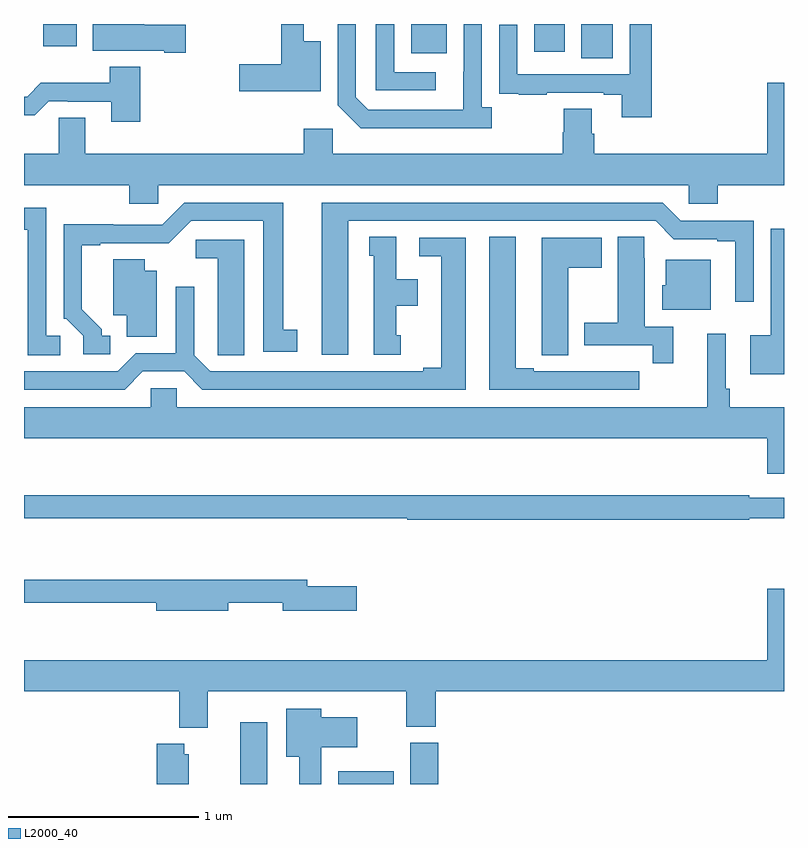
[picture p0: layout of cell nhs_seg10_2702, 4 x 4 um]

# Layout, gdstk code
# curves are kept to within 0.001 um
import gdstk
lib = gdstk.Library(unit=1e-6, precision=1e-09)
def R(c, l, rs):  # rectangles x0, y0, x1, y1
    for r in rs: c.add(gdstk.rectangle(r[:2], r[2:], *l))
def P(c, l, *ps):  # polygons
    for p in ps: c.add(gdstk.Polygon(p, *l))
L2000_40 = (2000, 40)

nhs_seg10_2702 = lib.new_cell('nhs_seg10_2702')
R(nhs_seg10_2702, L2000_40, [(258.137,1294.5,258.28,1294.825), (258.653,1294.5,258.946,1294.567), (259.034,1294.5,259.181,1294.716), (259.934,1298.32,260.098,1298.5), (259.037,1298.345,259.225,1298.5), (259.685,1298.355,259.846,1298.5), (257.1,1298.384,257.277,1298.5)])
P(nhs_seg10_2702, L2000_40, [(259.462,1298.062),(259.41,1298.062),(259.41,1298.5),(259.314,1298.5),(259.313,1298.049),(258.813,1298.049),(258.747,1298.115),(258.747,1298.5),(258.651,1298.5),(258.651,1298.073),(258.772,1297.952),(259.462,1297.952)],
  [(260.303,1298.5),(260.187,1298.5),(260.187,1298.235),(259.596,1298.235),(259.596,1298.497),(259.5,1298.497),(259.5,1298.242),(259.501,1298.242),(259.501,1298.133),(259.603,1298.133),(259.603,1298.127),(259.751,1298.127),(259.751,1298.139),(260.051,1298.139),(260.051,1298.127),(260.147,1298.127),(260.147,1298.01),(260.303,1298.01)],
  [(259.168,1298.247),(258.948,1298.247),(258.948,1298.5),(258.852,1298.5),(258.852,1298.151),(259.168,1298.151)],
  [(258.562,1298.41),(258.473,1298.41),(258.473,1298.5),(258.355,1298.5),(258.355,1298.288),(258.132,1298.288),(258.132,1298.146),(258.562,1298.146)],
  [(257.851,1298.495),(257.633,1298.495),(257.633,1298.5),(257.483,1298.5),(257.483,1298.498),(257.362,1298.498),(257.362,1298.36),(257.738,1298.36),(257.738,1298.348),(257.851,1298.348)],
  [(257.612,1298.275),(257.452,1298.275),(257.452,1298.191),(257.089,1298.191),(257.016,1298.118),(257,1298.118),(257,1298.021),(257.057,1298.021),(257.13,1298.094),(257.23,1298.094),(257.23,1298.091),(257.459,1298.091),(257.459,1297.986),(257.612,1297.986)],
  [(259.84,1298.054),(259.84,1297.929),(259.835,1297.929),(259.835,1297.816),(258.624,1297.816),(258.624,1297.948),(258.473,1297.948),(258.473,1297.816),(257.323,1297.816),(257.323,1298.006),(257.184,1298.006),(257.184,1297.816),(257,1297.816),(257,1297.652),(257.555,1297.652),(257.555,1297.554),(257.706,1297.554),(257.706,1297.652),(260.499,1297.652),(260.499,1297.554),(260.651,1297.554),(260.651,1297.652),(261,1297.652),(261,1298.191),(260.912,1298.191),(260.912,1297.816),(260,1297.816),(260,1297.922),(259.987,1297.922),(259.987,1298.054)],
  [(258.706,1297.464),(260.325,1297.464),(260.421,1297.368),(260.648,1297.368),(260.648,1297.356),(260.744,1297.356),(260.744,1297.038),(260.841,1297.038),(260.841,1297.464),(260.457,1297.464),(260.361,1297.56),(258.566,1297.56),(258.566,1296.759),(258.706,1296.759)],
  [(257.455,1296.858),(257.41,1296.858),(257.41,1296.893),(257.305,1296.998),(257.305,1297.335),(257.401,1297.335),(257.401,1297.347),(257.762,1297.346),(257.88,1297.464),(258.26,1297.464),(258.26,1296.774),(258.439,1296.774),(258.439,1296.89),(258.364,1296.89),(258.364,1297.56),(257.844,1297.56),(257.727,1297.443),(257.471,1297.443),(257.471,1297.445),(257.208,1297.445),(257.208,1296.948),(257.223,1296.948),(257.313,1296.858),(257.313,1296.762),(257.455,1296.762)],
  [(257.191,1296.858),(257.118,1296.858),(257.118,1297.533),(257,1297.533),(257,1297.417),(257.021,1297.417),(257.021,1296.757),(257.191,1296.757)],
  [(261,1297.423),(260.931,1297.423),(260.931,1296.862),(260.822,1296.862),(260.822,1296.656),(261,1296.656)],
  [(260.416,1296.906),(260.266,1296.906),(260.266,1297.268),(260.265,1297.268),(260.265,1297.379),(260.126,1297.379),(260.126,1296.927),(259.949,1296.927),(259.949,1296.81),(260.308,1296.81),(260.308,1296.714),(260.416,1296.714)],
  [(260.239,1296.672),(260.126,1296.672),(260.126,1296.673),(259.96,1296.673),(259.96,1296.672),(259.684,1296.672),(259.684,1296.687),(259.588,1296.687),(259.588,1297.379),(259.448,1297.379),(259.448,1296.576),(260.239,1296.576)],
  [(258.982,1296.861),(258.958,1296.861),(258.958,1297.016),(259.072,1297.016),(259.072,1297.156),(258.958,1297.156),(258.958,1297.379),(258.818,1297.379),(258.818,1297.281),(258.842,1297.281),(258.842,1296.759),(258.982,1296.759)],
  [(259.864,1297.216),(260.041,1297.216),(260.041,1297.375),(259.724,1297.375),(259.724,1296.865),(259.725,1296.865),(259.725,1296.757),(259.864,1296.757)],
  [(257.625,1296.672),(257.843,1296.672),(257.939,1296.576),(259.324,1296.576),(259.324,1297.374),(259.08,1297.374),(259.08,1297.278),(259.196,1297.278),(259.196,1296.692),(259.1,1296.692),(259.1,1296.672),(257.979,1296.672),(257.895,1296.756),(257.895,1297.117),(257.799,1297.117),(257.799,1296.768),(257.589,1296.768),(257.493,1296.672),(257,1296.672),(257,1296.576),(257.529,1296.576)],
  [(258.16,1297.365),(257.904,1297.365),(257.904,1297.268),(258.02,1297.268),(258.02,1296.865),(258.021,1296.865),(258.021,1296.757),(258.16,1296.757)],
  [(257.698,1297.201),(257.635,1297.201),(257.635,1297.262),(257.471,1297.262),(257.471,1296.968),(257.54,1296.968),(257.54,1296.853),(257.698,1296.853)],
  [(260.614,1297.258),(260.378,1297.258),(260.378,1297.125),(260.36,1297.125),(260.36,1296.995),(260.614,1296.995)],
  [(261,1296.484),(260.714,1296.484),(260.714,1296.58),(260.694,1296.58),(260.694,1296.871),(260.597,1296.871),(260.597,1296.484),(257.805,1296.484),(257.805,1296.582),(257.667,1296.582),(257.667,1296.484),(257,1296.484),(257,1296.32),(260.912,1296.32),(260.912,1296.132),(261,1296.132)],
  [(260.818,1295.898),(261,1295.898),(261,1296.006),(260.816,1296.006),(260.816,1296.019),(257,1296.019),(257,1295.898),(259.018,1295.898),(259.018,1295.89),(260.818,1295.89)],
  [(258.076,1295.454),(258.362,1295.454),(258.362,1295.411),(258.751,1295.411),(258.751,1295.541),(258.49,1295.541),(258.49,1295.575),(257,1295.575),(257,1295.454),(257.696,1295.454),(257.696,1295.411),(258.076,1295.411)],
  [(257.968,1294.988),(259.013,1294.988),(259.013,1294.801),(259.166,1294.801),(259.166,1294.988),(261,1294.988),(261,1295.527),(260.912,1295.527),(260.912,1295.152),(257,1295.152),(257,1294.988),(257.816,1294.988),(257.816,1294.796),(257.968,1294.796)],
  [(258.565,1294.694),(258.754,1294.694),(258.754,1294.852),(258.565,1294.852),(258.565,1294.897),(258.38,1294.897),(258.38,1294.643),(258.449,1294.643),(258.449,1294.5),(258.565,1294.5)],
  [(257.866,1294.657),(257.844,1294.657),(257.844,1294.711),(257.699,1294.711),(257.699,1294.5),(257.866,1294.5)])

lib.write_gds('nhs_seg10_2702.gds')
